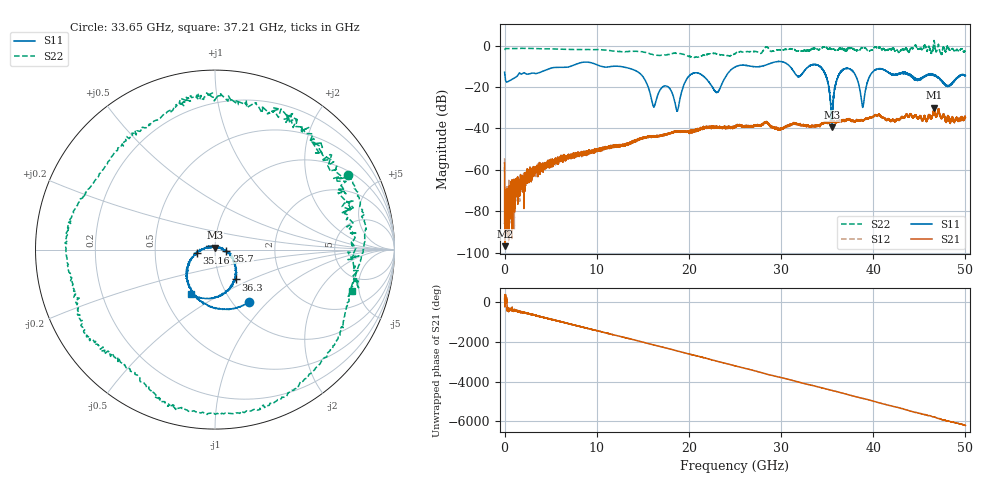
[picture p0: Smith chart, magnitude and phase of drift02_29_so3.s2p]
!Created with skrf (http://scikit-rf.org).
# Hz S RI R 50.0
!freq ReS11 ImS11 ReS21 ImS21 ReS12 ImS12 ReS22 ImS22
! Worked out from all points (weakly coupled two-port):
!   10001 points, 300 kHz to 50 GHz, reference 50 ohm
!   highest |S21| = -29.97 dB at 46.59 GHz (marker M1); lowest = -96.8 dB at 65.3 MHz (marker M2)
!   lowest |S11| = -39.4 dB at 35.5 GHz (marker M3), VSWR 1.02, Z = 49.8 + j1.05 ohm
!   |S11| at or under -10 dB: start of sweep to 7.177 GHz; 12.33 GHz to 25.17 GHz (12.84 GHz wide, 68.5 % of centre); 34.2 GHz to end of sweep (the widest 3 of 13)
!   |S22| runs from -5.7 to 2.5 dB; largest |S21 - S12| = 0.0029
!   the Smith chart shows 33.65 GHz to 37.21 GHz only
!   S11 on the Smith chart (normalised r, x): 33.65 GHz: 1.18, -0.79; 35.16 GHz: 0.82, -0.03; 35.7 GHz: 1.14, -0.01; 36.3 GHz: 1.18, -0.41; 37.21 GHz: 0.68, -0.37
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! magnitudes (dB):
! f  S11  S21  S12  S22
! 300 kHz  -12.9  -56.6  -54.3  -2.1
! 65.3 MHz  -15.8  -96.8  -71.5  -1.6
! 260.3 MHz  -17.6  -75.7  -70.8  -1.4
! 8.335 GHz  -8.2  -51.7  -52.5  -1.9
! 14.02 GHz  -11.7  -46.4  -46.3  -2.8
! 16.67 GHz  -23.3  -43.7  -43.6  -4.7
! 18.74 GHz  -31.6  -41.5  -41.5  -3.7
! 20.23 GHz  -13.9  -40.9  -41.0  -5.5
! 23.04 GHz  -22.6  -39.8  -39.5  -4.1
! 25 GHz  -10.3  -39.4  -39.3  -3.9
! 33.34 GHz  -9.3  -38.4  -38.6  -1.6
! 33.65 GHz  -9.1  -39.0  -38.7  -1.4
! 35.16 GHz  -19.8  -37.3  -37.3  -1.7
! 35.5 GHz  -39.4  -36.7  -36.9  -1.8
! 35.7 GHz  -23.9  -37.1  -37.1  -1.7
! 36.3 GHz  -13.9  -36.6  -36.6  -1.3
! 37.21 GHz  -11.0  -35.5  -35.8  -2.0
! 38.86 GHz  -29.8  -36.2  -36.0  -1.4
! 39.93 GHz  -12.8  -34.4  -34.4  -2.0
! 41.67 GHz  -13.0  -35.8  -35.7  -1.9
! 46.59 GHz  -14.1  -30.0  -30.2  2.0
! 50 GHz  -14.5  -34.8  -33.7  -2.7
